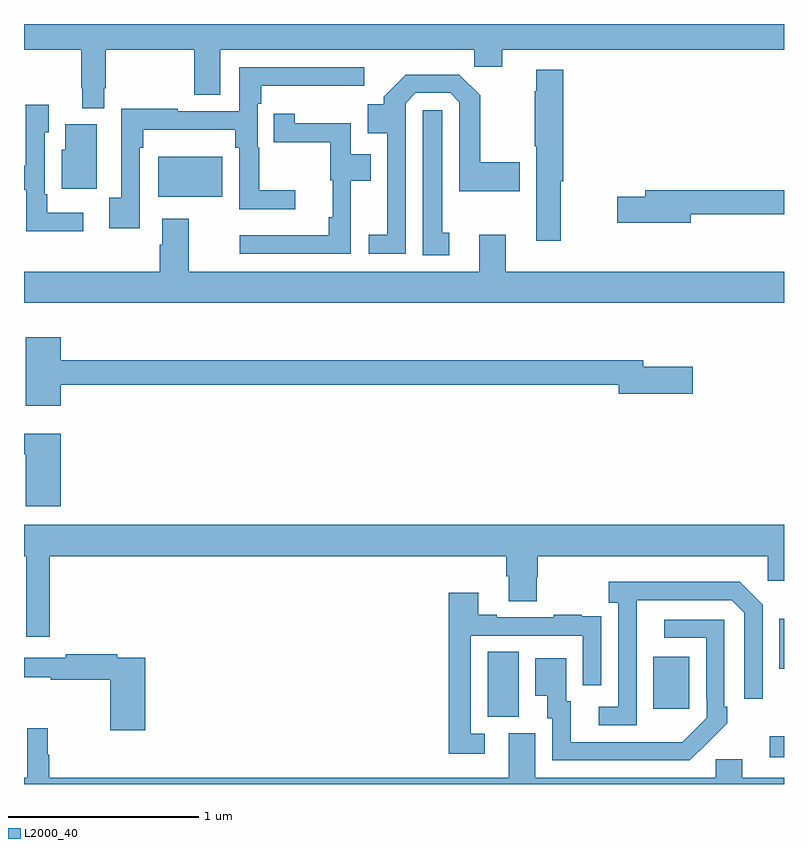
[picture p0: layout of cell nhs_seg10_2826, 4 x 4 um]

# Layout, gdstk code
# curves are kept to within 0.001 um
import gdstk
lib = gdstk.Library(unit=1e-6, precision=1e-09)
def R(c, l, rs):  # rectangles x0, y0, x1, y1
    for r in rs: c.add(gdstk.rectangle(r[:2], r[2:], *l))
def P(c, l, *ps):  # polygons
    for p in ps: c.add(gdstk.Polygon(p, *l))
L2000_40 = (2000, 40)

nhs_seg10_2826 = lib.new_cell('nhs_seg10_2826')
R(nhs_seg10_2826, L2000_40, [(268.926,1248.642,269,1248.751), (267.44,1248.853,267.604,1249.196), (268.313,1248.897,268.501,1249.171), (268.976,1249.106,269,1249.371), (265.706,1251.59,266.044,1251.802)])
P(nhs_seg10_2826, L2000_40, [(265.423,1252.162),(265.431,1252.162),(265.431,1252.364),(265.897,1252.364),(265.897,1252.128),(266.032,1252.128),(266.032,1252.364),(267.37,1252.364),(267.37,1252.274),(267.517,1252.274),(267.517,1252.364),(269,1252.364),(269,1252.5),(265,1252.5),(265,1252.364),(265.3,1252.364),(265.3,1252.162),(265.307,1252.162),(265.307,1252.057),(265.423,1252.057)],
  [(265.608,1251.848),(265.628,1251.848),(265.628,1251.944),(266.113,1251.944),(266.113,1251.848),(266.133,1251.848),(266.133,1251.524),(266.428,1251.524),(266.428,1251.624),(266.239,1251.624),(266.239,1251.848),(266.229,1251.848),(266.229,1252.079),(266.249,1252.079),(266.249,1252.175),(266.791,1252.175),(266.791,1252.272),(266.133,1252.272),(266.133,1252.041),(265.808,1252.041),(265.808,1252.054),(265.512,1252.054),(265.512,1251.585),(265.449,1251.585),(265.449,1251.426),(265.608,1251.426)],
  [(267.826,1251.672),(267.839,1251.672),(267.839,1252.258),(267.695,1252.258),(267.695,1252.145),(267.688,1252.145),(267.688,1251.856),(267.695,1251.856),(267.695,1251.36),(267.826,1251.36)],
  [(267.009,1252.083),(267.063,1252.137),(267.243,1252.137),(267.291,1252.089),(267.291,1251.62),(267.61,1251.62),(267.61,1251.773),(267.4,1251.773),(267.4,1252.124),(267.29,1252.234),(267.01,1252.234),(266.893,1252.117),(266.893,1252.078),(266.81,1252.078),(266.81,1251.926),(266.913,1251.926),(266.913,1251.392),(266.814,1251.392),(266.814,1251.291),(267.009,1251.291)],
  [(265.312,1251.507),(265.123,1251.507),(265.123,1251.604),(265.11,1251.604),(265.11,1251.93),(265.129,1251.93),(265.129,1252.075),(265.009,1252.075),(265.009,1251.755),(265,1251.755),(265,1251.638),(265.002,1251.638),(265.002,1251.627),(265.013,1251.627),(265.013,1251.41),(265.312,1251.41)],
  [(267.238,1251.402),(267.202,1251.402),(267.202,1252.047),(267.098,1252.047),(267.098,1251.282),(267.238,1251.282)],
  [(266.721,1251.674),(266.824,1251.674),(266.824,1251.814),(266.721,1251.814),(266.721,1251.977),(266.425,1251.977),(266.425,1252.027),(266.314,1252.027),(266.314,1251.878),(266.613,1251.878),(266.613,1251.678),(266.624,1251.678),(266.624,1251.484),(266.605,1251.484),(266.605,1251.388),(266.136,1251.388),(266.136,1251.291),(266.721,1251.291)],
  [(265.383,1251.736),(265.384,1251.736),(265.384,1251.972),(265.217,1251.972),(265.217,1251.837),(265.199,1251.837),(265.199,1251.633),(265.383,1251.633)],
  [(268.51,1251.498),(269,1251.498),(269,1251.626),(268.271,1251.626),(268.271,1251.59),(268.122,1251.59),(268.122,1251.455),(268.51,1251.455)],
  [(269,1251.196),(267.535,1251.196),(267.535,1251.391),(267.395,1251.391),(267.395,1251.196),(265.867,1251.196),(265.867,1251.475),(265.727,1251.475),(265.727,1251.338),(265.715,1251.338),(265.715,1251.196),(265,1251.196),(265,1251.032),(269,1251.032)],
  [(265.193,1250.602),(268.13,1250.602),(268.13,1250.555),(268.519,1250.555),(268.519,1250.697),(268.258,1250.697),(268.258,1250.731),(265.193,1250.731),(265.193,1250.851),(265.01,1250.851),(265.01,1250.49),(265.193,1250.49)],
  [(265.193,1250.344),(265,1250.344),(265,1250.235),(265.01,1250.235),(265.01,1249.962),(265.193,1249.962)],
  [(265.136,1249.7),(267.539,1249.7),(267.539,1249.594),(267.551,1249.594),(267.551,1249.462),(267.699,1249.462),(267.699,1249.587),(267.704,1249.587),(267.704,1249.7),(268.914,1249.7),(268.914,1249.569),(269,1249.569),(269,1249.864),(265,1249.864),(265,1249.7),(265.013,1249.7),(265.013,1249.275),(265.136,1249.275)],
  [(268.224,1249.267),(268.225,1249.467),(268.725,1249.467),(268.791,1249.401),(268.791,1248.948),(268.887,1248.948),(268.887,1249.443),(268.766,1249.564),(268.077,1249.564),(268.077,1249.454),(268.128,1249.454),(268.128,1248.906),(268.026,1248.906),(268.026,1248.81),(268.224,1248.81)],
  [(267.424,1248.765),(267.351,1248.765),(267.351,1249.281),(267.942,1249.281),(267.942,1249.02),(268.038,1249.02),(268.038,1249.274),(268.037,1249.274),(268.037,1249.383),(267.935,1249.383),(267.935,1249.39),(267.787,1249.39),(267.787,1249.377),(267.487,1249.377),(267.487,1249.39),(267.391,1249.39),(267.391,1249.507),(267.235,1249.507),(267.235,1248.66),(267.424,1248.66)],
  [(268.595,1248.715),(268.596,1248.714),(268.701,1248.819),(268.701,1248.907),(268.686,1248.907),(268.686,1249.365),(268.371,1249.365),(268.371,1249.269),(268.59,1249.269),(268.59,1248.949),(268.593,1248.949),(268.593,1248.849),(268.465,1248.721),(267.877,1248.72),(267.877,1248.936),(267.853,1248.936),(267.853,1249.162),(267.692,1249.162),(267.692,1248.965),(267.755,1248.965),(267.755,1248.846),(267.78,1248.846),(267.78,1248.624),(268.504,1248.624)],
  [(265.637,1249.164),(265.49,1249.164),(265.49,1249.184),(265.219,1249.184),(265.219,1249.164),(265,1249.164),(265,1249.063),(265.142,1249.063),(265.142,1249.048),(265.454,1249.048),(265.454,1248.783),(265.637,1248.783)],
  [(268.641,1248.63),(268.641,1248.532),(267.691,1248.532),(267.691,1248.768),(267.551,1248.768),(267.551,1248.532),(265.133,1248.532),(265.133,1248.654),(265.126,1248.654),(265.126,1248.793),(265.017,1248.793),(265.017,1248.532),(265,1248.532),(265,1248.5),(269,1248.5),(269,1248.532),(268.78,1248.532),(268.78,1248.63)])

lib.write_gds('nhs_seg10_2826.gds')
